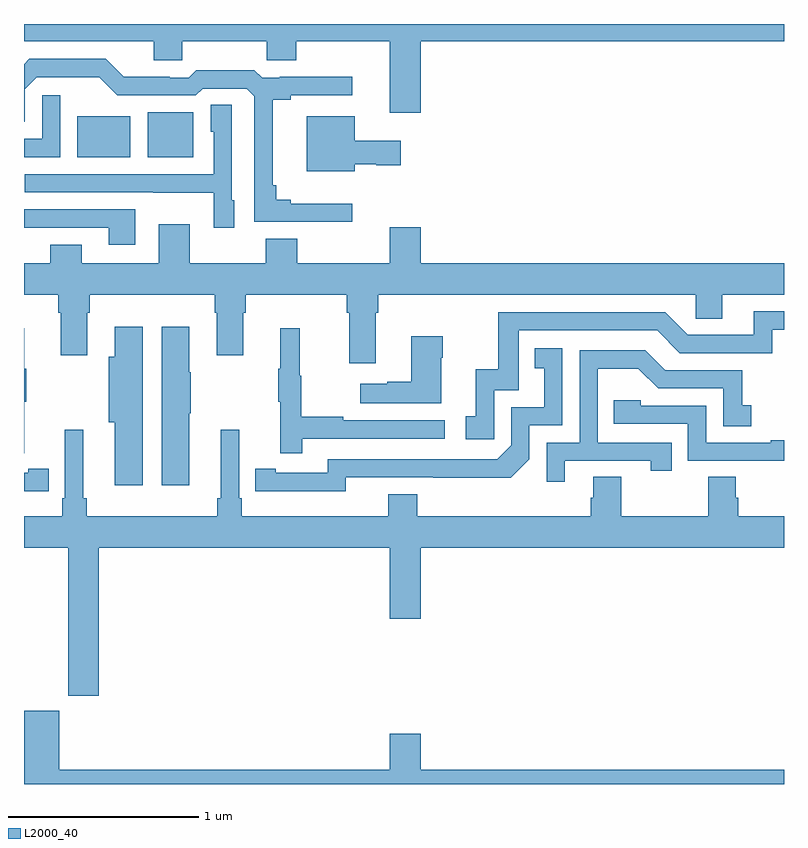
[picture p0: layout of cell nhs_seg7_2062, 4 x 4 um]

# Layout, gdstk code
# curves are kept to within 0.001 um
import gdstk
lib = gdstk.Library(unit=1e-6, precision=1e-09)
def R(c, l, rs):  # rectangles x0, y0, x1, y1
    for r in rs: c.add(gdstk.rectangle(r[:2], r[2:], *l))
def P(c, l, *ps):  # polygons
    for p in ps: c.add(gdstk.Polygon(p, *l))
L2000_40 = (2000, 40)

nhs_seg7_2062 = lib.new_cell('nhs_seg7_2062')
R(nhs_seg7_2062, L2000_40, [(247.28,1041.299,247.558,1041.514), (247.652,1041.299,247.891,1041.535)])
P(nhs_seg7_2062, L2000_40, [(249.088,1041.908),(251,1041.908),(251,1042),(247,1042),(247,1041.908),(247.682,1041.908),(247.682,1041.81),(247.833,1041.81),(247.833,1041.908),(248.278,1041.908),(248.278,1041.81),(248.433,1041.81),(248.433,1041.908),(248.924,1041.908),(248.924,1041.534),(249.088,1041.534)],
  [(248.728,1041.055),(248.404,1041.055),(248.404,1041.074),(248.327,1041.074),(248.327,1041.151),(248.309,1041.151),(248.309,1041.602),(248.404,1041.602),(248.404,1041.624),(248.728,1041.624),(248.728,1041.722),(248.347,1041.722),(248.347,1041.717),(248.253,1041.717),(248.213,1041.757),(247.906,1041.757),(247.866,1041.717),(247.766,1041.717),(247.766,1041.722),(247.526,1041.722),(247.431,1041.816),(247.028,1041.816),(247,1041.788),(247,1041.486),(247.005,1041.486),(247.005,1041.657),(247.068,1041.72),(247.397,1041.719),(247.491,1041.624),(247.905,1041.624),(247.941,1041.66),(248.172,1041.66),(248.211,1041.621),(248.211,1040.958),(248.728,1040.958)],
  [(247.191,1041.625),(247.095,1041.625),(247.095,1041.396),(247,1041.396),(247,1041.3),(247.191,1041.3)],
  [(248.107,1041.072),(248.094,1041.072),(248.094,1041.575),(247.982,1041.575),(247.982,1041.432),(247.998,1041.432),(247.998,1041.21),(247.003,1041.21),(247.003,1041.114),(247.681,1041.114),(247.681,1041.113),(247.998,1041.113),(247.998,1040.928),(248.107,1040.928)],
  [(248.74,1041.263),(248.853,1041.263),(248.853,1041.256),(248.983,1041.256),(248.983,1041.385),(248.74,1041.385),(248.74,1041.514),(248.489,1041.514),(248.489,1041.224),(248.74,1041.224)],
  [(247.585,1041.024),(247,1041.024),(247,1040.927),(247.015,1040.927),(247.015,1040.928),(247.445,1040.928),(247.445,1040.838),(247.585,1040.838)],
  [(248.851,1040.48),(248.864,1040.48),(248.864,1040.576),(250.536,1040.576),(250.536,1040.449),(250.675,1040.449),(250.675,1040.576),(251,1040.576),(251,1040.74),(249.088,1040.74),(249.088,1040.929),(248.924,1040.929),(248.924,1040.74),(248.437,1040.74),(248.437,1040.869),(248.273,1040.869),(248.273,1040.74),(247.873,1040.74),(247.873,1040.947),(247.709,1040.947),(247.709,1040.74),(247.303,1040.74),(247.303,1040.839),(247.139,1040.839),(247.139,1040.74),(247,1040.74),(247,1040.576),(247.181,1040.576),(247.181,1040.48),(247.193,1040.48),(247.193,1040.256),(247.333,1040.256),(247.333,1040.48),(247.346,1040.48),(247.346,1040.576),(248.003,1040.576),(248.003,1040.48),(248.015,1040.48),(248.015,1040.256),(248.155,1040.256),(248.155,1040.48),(248.168,1040.48),(248.168,1040.576),(248.699,1040.576),(248.699,1040.48),(248.711,1040.48),(248.711,1040.214),(248.851,1040.214)],
  [(249.474,1040.073),(249.603,1040.073),(249.603,1040.388),(250.332,1040.388),(250.452,1040.268),(250.938,1040.268),(250.938,1040.391),(251,1040.391),(251,1040.487),(250.841,1040.487),(250.841,1040.364),(250.494,1040.364),(250.374,1040.484),(249.495,1040.484),(249.495,1040.182),(249.377,1040.182),(249.377,1039.935),(249.324,1039.935),(249.324,1039.815),(249.474,1039.815)],
  [(247.624,1040.407),(247.478,1040.407),(247.478,1040.248),(247.445,1040.248),(247.445,1039.904),(247.478,1039.904),(247.478,1039.572),(247.624,1039.572)],
  [(247.87,1039.951),(247.878,1039.951),(247.878,1040.168),(247.87,1040.168),(247.87,1040.407),(247.724,1040.407),(247.724,1039.572),(247.87,1039.572)],
  [(247.001,1040.011),(247.012,1040.011),(247.012,1040.185),(247.001,1040.185),(247.001,1040.398),(247,1040.398),(247,1039.74),(247.001,1039.74)],
  [(248.465,1039.818),(249.214,1039.818),(249.214,1039.914),(248.681,1039.914),(248.681,1039.934),(248.458,1039.934),(248.458,1040.148),(248.45,1040.148),(248.45,1040.398),(248.348,1040.398),(248.348,1040.185),(248.337,1040.185),(248.337,1040.011),(248.348,1040.011),(248.348,1039.74),(248.465,1039.74)],
  [(249.196,1040.243),(249.204,1040.243),(249.204,1040.356),(249.038,1040.356),(249.038,1040.117),(248.912,1040.117),(248.912,1040.107),(248.769,1040.107),(248.769,1040.003),(249.196,1040.003)],
  [(248.694,1039.614),(249.562,1039.613),(249.66,1039.71),(249.66,1039.887),(249.834,1039.887),(249.834,1040.293),(249.688,1040.293),(249.688,1040.187),(249.737,1040.187),(249.737,1039.983),(249.564,1039.983),(249.564,1039.782),(249.492,1039.71),(248.598,1039.71),(248.598,1039.638),(248.326,1039.638),(248.326,1039.658),(248.218,1039.658),(248.218,1039.542),(248.694,1039.541)],
  [(249.847,1039.701),(250.298,1039.701),(250.298,1039.65),(250.409,1039.65),(250.409,1039.797),(250.02,1039.797),(250.02,1040.186),(250.234,1040.186),(250.338,1040.082),(250.68,1040.082),(250.68,1039.884),(250.828,1039.884),(250.828,1039.993),(250.779,1039.993),(250.779,1040.178),(250.375,1040.178),(250.27,1040.283),(249.924,1040.283),(249.924,1039.797),(249.75,1039.797),(249.75,1039.59),(249.847,1039.59)],
  [(251,1039.81),(250.931,1039.81),(250.931,1039.797),(250.59,1039.797),(250.59,1039.992),(250.245,1039.992),(250.245,1040.019),(250.105,1040.019),(250.105,1039.896),(250.494,1039.896),(250.494,1039.701),(251,1039.701)],
  [(247.394,1039.244),(248.924,1039.244),(248.924,1038.87),(249.088,1038.87),(249.088,1039.244),(251,1039.244),(251,1039.408),(250.76,1039.408),(250.76,1039.506),(250.747,1039.506),(250.747,1039.616),(250.6,1039.616),(250.6,1039.408),(250.143,1039.408),(250.143,1039.616),(249.995,1039.616),(249.995,1039.506),(249.983,1039.506),(249.983,1039.408),(249.071,1039.408),(249.071,1039.525),(248.918,1039.525),(248.918,1039.408),(248.147,1039.408),(248.147,1039.504),(248.133,1039.504),(248.133,1039.864),(248.036,1039.864),(248.036,1039.504),(248.017,1039.504),(248.017,1039.408),(247.331,1039.408),(247.331,1039.504),(247.312,1039.504),(247.312,1039.864),(247.215,1039.864),(247.215,1039.504),(247.202,1039.504),(247.202,1039.408),(247,1039.408),(247,1039.244),(247.234,1039.244),(247.234,1038.465),(247.394,1038.465)],
  [(247.022,1039.542),(247.13,1039.542),(247.13,1039.658),(247.022,1039.658),(247.022,1039.638),(247,1039.638),(247,1039.541),(247.022,1039.541)],
  [(251,1038.076),(249.088,1038.076),(249.088,1038.265),(248.924,1038.265),(248.924,1038.076),(247.186,1038.076),(247.186,1038.385),(247,1038.385),(247,1038),(251,1038)])

lib.write_gds('nhs_seg7_2062.gds')
